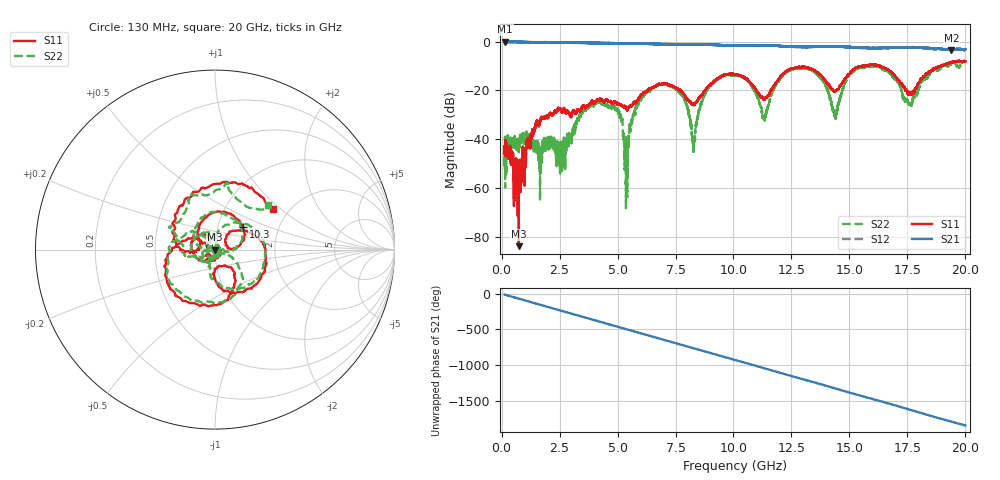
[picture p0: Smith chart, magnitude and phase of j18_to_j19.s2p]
!Created with skrf (http://scikit-rf.org).
# GHz S RI R 50.0
!freq ReS11 ImS11 ReS21 ImS21 ReS12 ImS12 ReS22 ImS22
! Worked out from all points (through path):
!   20013 points, 130 MHz to 20 GHz, reference 50 ohm
!   highest |S21| = -0.01 dB at 158 MHz (marker M1); lowest = -3.4 dB at 19.4 GHz (marker M2)
!   group delay of S21, straight-line fit = 257 ps
!   lowest |S11| = -83.9 dB at 744 MHz (marker M3), VSWR 1.00, Z = 50 - j0.00371 ohm
!   |S11| at or under -10 dB: start of sweep to 15.54 GHz; 15.61814 GHz to 15.64946 GHz (31.32 MHz wide, 0.2 % of centre); 16.32 GHz to 18.94 GHz (2.624 GHz wide, 14.9 % of centre)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
!   |S22| runs from -68.3 to -7.9 dB; largest |S21 - S12| = 0.1
!   S11 on the Smith chart (normalised r, x): 130 MHz: 1.01, -0.00; 10.3 GHz: 1.32, +0.35; 20 GHz: 1.69, +0.87
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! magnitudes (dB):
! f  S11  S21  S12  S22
! 130 MHz  -44.3  -0.1  -0.1  -44.0
! 158 MHz  -43.6  0.0  -0.2  -47.4
! 744 MHz  -83.9  -0.2  -0.2  -42.0
! 2.575 GHz  -28.4  -0.5  -0.3  -44.1
! 3.442 GHz  -27.8  -0.5  -0.5  -29.2
! 4.913 GHz  -24.8  -0.8  -0.7  -27.8
! 5.387 GHz  -27.6  -0.8  -0.8  -41.7
! 5.881 GHz  -23.8  -0.8  -0.9  -25.0
! 6.754 GHz  -17.6  -1.0  -1.1  -17.8
! 7.799 GHz  -21.0  -1.2  -1.1  -22.2
! 8.274 GHz  -25.8  -1.2  -1.2  -45.1
! 8.907 GHz  -18.5  -1.3  -1.3  -19.2
! 10.06 GHz  -13.5  -1.6  -1.5  -14.1
! 10.3 GHz  -13.9  -1.6  -1.6  -14.3
! 11.32 GHz  -23.9  -1.6  -1.5  -31.6
! 13.38 GHz  -11.4  -2.3  -2.2  -11.8
! 14.38 GHz  -20.5  -2.0  -2.1  -30.2
! 15.22 GHz  -11.1  -2.4  -2.4  -11.8
! 16.69 GHz  -11.6  -2.5  -2.6  -12.3
! 17.61 GHz  -21.0  -2.4  -2.4  -25.2
! 19.4 GHz  -8.6  -3.4  -3.3  -8.8
! 20 GHz  -8.1  -3.2  -3.3  -8.3
